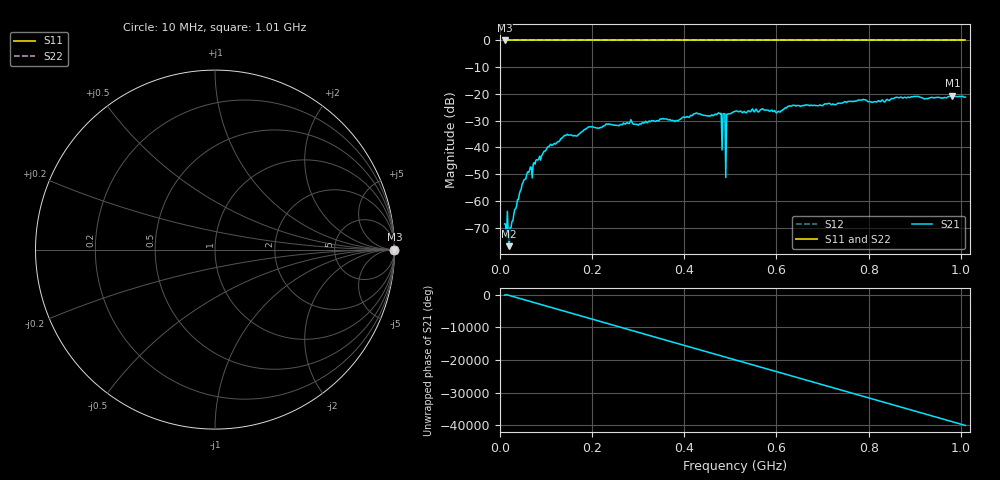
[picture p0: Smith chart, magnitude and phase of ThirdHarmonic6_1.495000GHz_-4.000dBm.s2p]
! 8/16/2025 5:31:57 PM
! C:\ANRITSUVNA\TEMP\TEMP.S2P
! CHANNEL.1
! TR.MEASUREMENT
! RAW.DATA
! RF.CORRECTION.OFF
! AVERAGING.OFF
! IF.BANDWIDTH: 5KHZ
! SWEEPTYPE:  FREQ.SWEEP(Linear)
! Reference Plane Port Info
! PORT:  PORT1  PORT2
! DISTANCE:  0  m  0  m
! TIME:  0  s  0  s
! PHASE.OFFSET:  0  deg.  0  deg.
! LOSS:  0  dB  0  dB
! REF.LOSS:  0  dB  0  dB
! REF.FREQ:  0  Hz  0  Hz
! Power Info
! POWER:  -20  dBm  -20  dBm
! EFF.POWER:  -20  dBm  -20  dBm
! SOURCE.ATTEN:  0  dB  0  dB
! TEST.ATTEN:  0  dB  0  dB
# GHZ S RI R 50.0
! FREQ.GHZ  S11RE  S11IM  S21RE  S21IM  S12RE  S12IM  S22RE  S22IM
!; PortSelection: Port_12
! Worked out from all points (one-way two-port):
!   501 points, 10 MHz to 1.01 GHz, reference 50 ohm
!   highest |S21| = -20.61 dB at 982 MHz (marker M1); lowest = -76.9 dB at 20 MHz (marker M2)
!   lowest |S11| = 0.0 dB at 10 MHz (marker M3)
!   |S11| at or under -10 dB: nowhere
!   |S22| runs from 0.0 to 0.0 dB; largest |S21 - S12| = 1.1
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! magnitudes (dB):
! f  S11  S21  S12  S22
! 10 MHz  0.0  -68.6  0.0  0.0
! 20 MHz  0.0  -76.9  0.0  0.0
! 22 MHz  0.0  -70.0  0.0  0.0
! 48 MHz  0.0  -53.7  0.0  0.0
! 76 MHz  0.0  -46.2  0.0  0.0
! 142 MHz  0.0  -35.5  0.0  0.0
! 178 MHz  0.0  -34.1  0.0  0.0
! 344 MHz  0.0  -30.1  0.0  0.0
! 476 MHz  0.0  -27.3  0.0  0.0
! 478 MHz  0.0  -27.4  0.0  0.0
! 484 MHz  0.0  -27.5  0.0  0.0
! 486 MHz  0.0  -27.4  0.0  0.0
! 488 MHz  0.0  -27.4  0.0  0.0
! 494 MHz  0.0  -27.5  0.0  0.0
! 496 MHz  0.0  -27.5  0.0  0.0
! 510 MHz  0.0  -26.5  0.0  0.0
! 604 MHz  0.0  -26.5  0.0  0.0
! 632 MHz  0.0  -24.5  0.0  0.0
! 678 MHz  0.0  -24.4  0.0  0.0
! 844 MHz  0.0  -22.5  0.0  0.0
! 982 MHz  0.0  -20.6  0.0  0.0
! 1.01 GHz  0.0  -21.2  0.0  0.0
